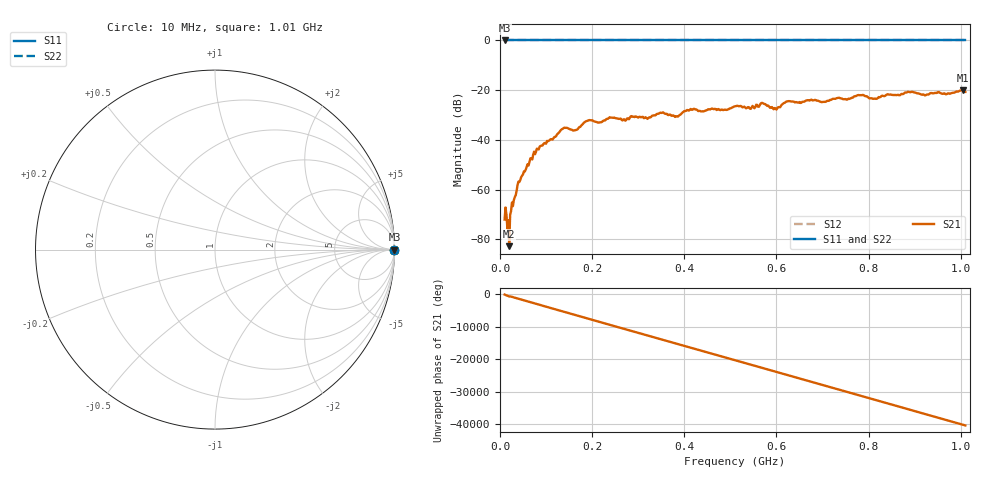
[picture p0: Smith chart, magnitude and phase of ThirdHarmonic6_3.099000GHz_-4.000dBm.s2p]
! 8/17/2025 9:08:09 AM
! C:\ANRITSUVNA\TEMP\TEMP.S2P
! CHANNEL.1
! TR.MEASUREMENT
! RAW.DATA
! RF.CORRECTION.OFF
! AVERAGING.OFF
! IF.BANDWIDTH: 5KHZ
! SWEEPTYPE:  FREQ.SWEEP(Linear)
! Reference Plane Port Info
! PORT:  PORT1  PORT2
! DISTANCE:  0  m  0  m
! TIME:  0  s  0  s
! PHASE.OFFSET:  0  deg.  0  deg.
! LOSS:  0  dB  0  dB
! REF.LOSS:  0  dB  0  dB
! REF.FREQ:  0  Hz  0  Hz
! Power Info
! POWER:  -20  dBm  -20  dBm
! EFF.POWER:  -20  dBm  -20  dBm
! SOURCE.ATTEN:  0  dB  0  dB
! TEST.ATTEN:  0  dB  0  dB
# GHZ S RI R 50.0
! FREQ.GHZ  S11RE  S11IM  S21RE  S21IM  S12RE  S12IM  S22RE  S22IM
!; PortSelection: Port_12
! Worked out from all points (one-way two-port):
!   501 points, 10 MHz to 1.01 GHz, reference 50 ohm
!   highest |S21| = -20.04 dB at 1.004 GHz (marker M1); lowest = -82.7 dB at 20 MHz (marker M2)
!   lowest |S11| = 0.0 dB at 10 MHz (marker M3)
!   |S11| at or under -10 dB: nowhere
!   |S22| runs from 0.0 to 0.0 dB; largest |S21 - S12| = 1.1
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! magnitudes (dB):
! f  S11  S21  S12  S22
! 10 MHz  0.0  -72.0  0.0  0.0
! 20 MHz  0.0  -82.7  0.0  0.0
! 26 MHz  0.0  -65.2  0.0  0.0
! 42 MHz  0.0  -57.0  0.0  0.0
! 76 MHz  0.0  -45.8  0.0  0.0
! 136 MHz  0.0  -35.5  0.0  0.0
! 162 MHz  0.0  -36.2  0.0  0.0
! 178 MHz  0.0  -33.9  0.0  0.0
! 194 MHz  0.0  -32.0  0.0  0.0
! 322 MHz  0.0  -31.1  0.0  0.0
! 344 MHz  0.0  -29.5  0.0  0.0
! 384 MHz  0.0  -30.5  0.0  0.0
! 416 MHz  0.0  -27.8  0.0  0.0
! 510 MHz  0.0  -26.5  0.0  0.0
! 570 MHz  0.0  -25.2  0.0  0.0
! 598 MHz  0.0  -27.3  0.0  0.0
! 624 MHz  0.0  -24.5  0.0  0.0
! 678 MHz  0.0  -24.1  0.0  0.0
! 814 MHz  0.0  -23.4  0.0  0.0
! 844 MHz  0.0  -21.8  0.0  0.0
! 1.004 GHz  0.0  -20.0  0.0  0.0
! 1.01 GHz  0.0  -20.7  0.0  0.0
